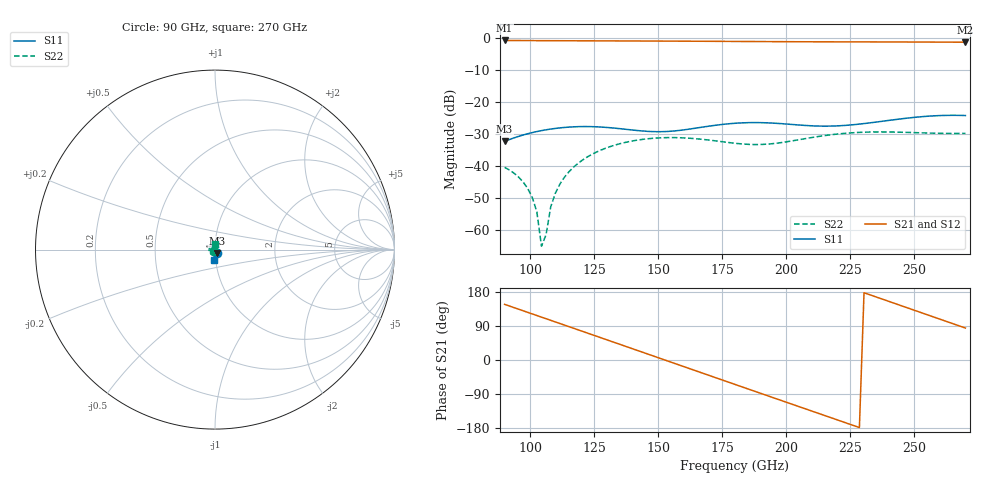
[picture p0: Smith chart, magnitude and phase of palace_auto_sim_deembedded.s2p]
! Created with skrf 1.11.0 (http://scikit-rf.org).
# GHz S DB R 50.0
!freq dBS11 angS11 dBS21 angS21 dBS12 angS12 dBS22 angS22
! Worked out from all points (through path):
!   101 points, 90 GHz to 270 GHz, reference 50 ohm
!   highest |S21| = -0.87 dB at 90 GHz (marker M1); lowest = -1.4 dB at 270 GHz (marker M2)
!   group delay of S21, straight-line fit = 6.52 ps
!   lowest |S11| = -32.4 dB at 90 GHz (marker M3), VSWR 1.05, Z = 51.1 - j2.16 ohm
!   |S11| at or under -10 dB: start of sweep to end of sweep
!   |S22| runs from -65.1 to -29.4 dB; largest |S21 - S12| = 1e-13
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90  -32.41 -61.5  -0.87 146.9  -0.87 146.9  -40.51 -108.4
97.2  -30.41 -63.5  -0.91 130.0  -0.91 130.0  -45.05 -122.8
100.8  -29.66 -66.0  -0.92 121.6  -0.92 121.6  -49.91 -131.1
102.6  -29.33 -67.4  -0.93 117.4  -0.93 117.4  -54.42 -135.8
104.4  -29.04 -69.0  -0.94 113.1  -0.94 113.1  -65.13 -143.1
106.2  -28.78 -70.6  -0.94 108.9  -0.94 108.9  -61.52 39.9
108  -28.55 -72.3  -0.95 104.7  -0.95 104.7  -52.91 33.7
109.8  -28.35 -74.1  -0.95 100.5  -0.95 100.5  -48.62 28.9
113.4  -28.05 -77.6  -0.97 92.1  -0.97 92.1  -43.56 19.6
120.6  -27.77 -84.6  -0.99 75.2  -0.99 75.2  -38.13 1.0
136.8  -28.58 -94.5  -1.03 37.2  -1.03 37.2  -32.78 -43.1
151.2  -29.37 -89.4  -1.07 3.3  -1.07 3.3  -31.28 -86.9
165.6  -28.15 -83.0  -1.12 -30.6  -1.12 -30.6  -31.63 -138.0
180  -26.75 -87.4  -1.18 -64.5  -1.18 -64.5  -32.99 158.1
194.4  -26.68 -94.8  -1.24 -98.2  -1.24 -98.2  -33.13 80.4
201.6  -27.07 -96.2  -1.27 -115.1  -1.27 -115.1  -32.34 42.2
210.6  -27.56 -94.0  -1.29 -136.1  -1.29 -136.1  -31.12 -1.7
219.6  -27.57 -89.0  -1.31 -157.2  -1.31 -157.2  -30.14 -42.4
226.8  -27.15 -85.2  -1.32 -174.1  -1.32 -174.1  -29.67 -73.9
241.2  -25.73 -82.6  -1.34 152.1  -1.34 152.1  -29.48 -137.1
255.6  -24.53 -87.0  -1.38 118.2  -1.38 118.2  -29.79 156.5
270  -24.32 -94.3  -1.42 84.4  -1.42 84.4  -29.90 86.8
